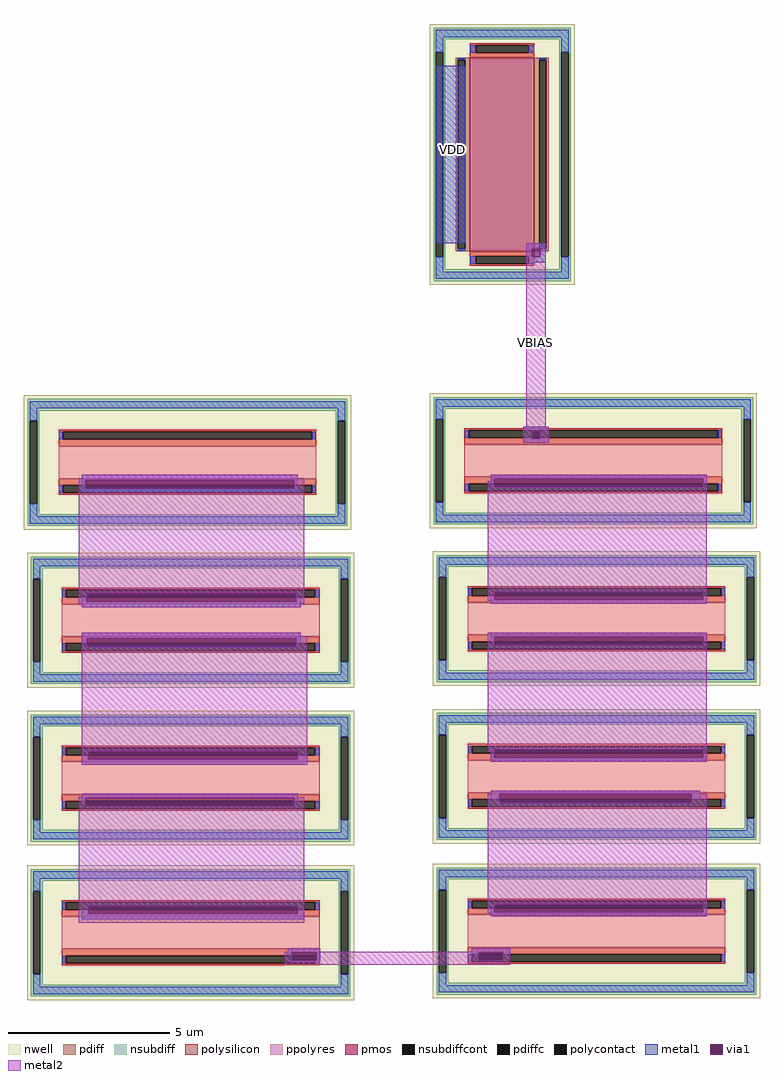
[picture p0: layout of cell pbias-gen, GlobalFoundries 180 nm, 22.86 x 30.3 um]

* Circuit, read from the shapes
.subckt pbias-gen VBIAS VDD
XM1 VBIAS VBIAS VDD VDD pfet_03v3 w=6u l=2u
XR2 n1 n2 VSUBS ppolyf_u r_width=8u r_length=1u
XR3 n3 n4 VSUBS ppolyf_u r_width=8u r_length=1u
XR4 n5 n3 VSUBS ppolyf_u r_width=8u r_length=1u
XR5 n2 n5 VSUBS ppolyf_u r_width=8u r_length=1u
XR6 VBIAS n6 VSUBS ppolyf_u r_width=8u r_length=1u
XR7 n7 n4 VSUBS ppolyf_u r_width=8u r_length=1u
XR8 n8 n7 VSUBS ppolyf_u r_width=8u r_length=1u
XR9 n6 n8 VSUBS ppolyf_u r_width=8u r_length=1u
.ends

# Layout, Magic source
magic
tech gf180mcuD
magscale 1 10
<< nwell >>
rect 2460 -50 4492 786
rect -40 -1040 1992 -204
rect 2480 -1030 4512 -194
rect -40 -2020 1992 -1184
rect 2480 -2010 4512 -1174
rect -40 -2980 1992 -2144
rect 2480 -2970 4512 -2134
<< nsubdiff >>
rect 2484 690 4468 762
rect 2484 626 2556 690
rect 2484 110 2497 626
rect 2543 110 2556 626
rect 4396 626 4468 690
rect 2484 46 2556 110
rect 4396 110 4409 626
rect 4455 110 4468 626
rect 4396 46 4468 110
rect 2484 -26 4468 46
rect -16 -300 1968 -228
rect -16 -364 56 -300
rect -16 -880 -3 -364
rect 43 -880 56 -364
rect 1896 -364 1968 -300
rect -16 -944 56 -880
rect 1896 -880 1909 -364
rect 1955 -880 1968 -364
rect 1896 -944 1968 -880
rect -16 -1016 1968 -944
rect 2504 -290 4488 -218
rect 2504 -354 2576 -290
rect 2504 -870 2517 -354
rect 2563 -870 2576 -354
rect 4416 -354 4488 -290
rect 2504 -934 2576 -870
rect 4416 -870 4429 -354
rect 4475 -870 4488 -354
rect 4416 -934 4488 -870
rect 2504 -1006 4488 -934
rect -16 -1280 1968 -1208
rect -16 -1344 56 -1280
rect -16 -1860 -3 -1344
rect 43 -1860 56 -1344
rect 1896 -1344 1968 -1280
rect -16 -1924 56 -1860
rect 1896 -1860 1909 -1344
rect 1955 -1860 1968 -1344
rect 1896 -1924 1968 -1860
rect -16 -1996 1968 -1924
rect 2504 -1270 4488 -1198
rect 2504 -1334 2576 -1270
rect 2504 -1850 2517 -1334
rect 2563 -1850 2576 -1334
rect 4416 -1334 4488 -1270
rect 2504 -1914 2576 -1850
rect 4416 -1850 4429 -1334
rect 4475 -1850 4488 -1334
rect 4416 -1914 4488 -1850
rect 2504 -1986 4488 -1914
rect -16 -2240 1968 -2168
rect -16 -2304 56 -2240
rect -16 -2820 -3 -2304
rect 43 -2820 56 -2304
rect 1896 -2304 1968 -2240
rect -16 -2884 56 -2820
rect 1896 -2820 1909 -2304
rect 1955 -2820 1968 -2304
rect 1896 -2884 1968 -2820
rect -16 -2956 1968 -2884
rect 2504 -2230 4488 -2158
rect 2504 -2294 2576 -2230
rect 2504 -2810 2517 -2294
rect 2563 -2810 2576 -2294
rect 4416 -2294 4488 -2230
rect 2504 -2874 2576 -2810
rect 4416 -2810 4429 -2294
rect 4475 -2810 4488 -2294
rect 4416 -2874 4488 -2810
rect 2504 -2946 4488 -2874
<< nsubdiffcont >>
rect 2497 110 2543 626
rect 4409 110 4455 626
rect -3 -880 43 -364
rect 1909 -880 1955 -364
rect 2517 -870 2563 -354
rect 4429 -870 4475 -354
rect -3 -1860 43 -1344
rect 1909 -1860 1955 -1344
rect 2517 -1850 2563 -1334
rect 4429 -1850 4475 -1334
rect -3 -2820 43 -2304
rect 1909 -2820 1955 -2304
rect 2517 -2810 2563 -2294
rect 4429 -2810 4475 -2294
<< polysilicon >>
rect 2676 557 4276 570
rect 2676 511 2701 557
rect 4251 511 4276 557
rect 2676 468 4276 511
rect 2676 225 4276 268
rect 2676 179 2701 225
rect 4251 179 4276 225
rect 2676 166 4276 179
rect 176 -433 1776 -420
rect 176 -479 201 -433
rect 1751 -479 1776 -433
rect 176 -522 1776 -479
rect 176 -765 1776 -722
rect 176 -811 201 -765
rect 1751 -811 1776 -765
rect 176 -824 1776 -811
rect 2696 -423 4296 -410
rect 2696 -469 2721 -423
rect 4271 -469 4296 -423
rect 2696 -512 4296 -469
rect 2696 -755 4296 -712
rect 2696 -801 2721 -755
rect 4271 -801 4296 -755
rect 2696 -814 4296 -801
rect 176 -1413 1776 -1400
rect 176 -1459 201 -1413
rect 1751 -1459 1776 -1413
rect 176 -1502 1776 -1459
rect 176 -1745 1776 -1702
rect 176 -1791 201 -1745
rect 1751 -1791 1776 -1745
rect 176 -1804 1776 -1791
rect 2696 -1403 4296 -1390
rect 2696 -1449 2721 -1403
rect 4271 -1449 4296 -1403
rect 2696 -1492 4296 -1449
rect 2696 -1735 4296 -1692
rect 2696 -1781 2721 -1735
rect 4271 -1781 4296 -1735
rect 2696 -1794 4296 -1781
rect 176 -2373 1776 -2360
rect 176 -2419 201 -2373
rect 1751 -2419 1776 -2373
rect 176 -2462 1776 -2419
rect 176 -2705 1776 -2662
rect 176 -2751 201 -2705
rect 1751 -2751 1776 -2705
rect 176 -2764 1776 -2751
rect 2696 -2363 4296 -2350
rect 2696 -2409 2721 -2363
rect 4271 -2409 4296 -2363
rect 2696 -2452 4296 -2409
rect 2696 -2695 4296 -2652
rect 2696 -2741 2721 -2695
rect 4271 -2741 4296 -2695
rect 2696 -2754 4296 -2741
<< polycontact >>
rect 2701 511 4251 557
rect 2701 179 4251 225
rect 201 -479 1751 -433
rect 201 -811 1751 -765
rect 2721 -469 4271 -423
rect 2721 -801 4271 -755
rect 201 -1459 1751 -1413
rect 201 -1791 1751 -1745
rect 2721 -1449 4271 -1403
rect 2721 -1781 4271 -1735
rect 201 -2419 1751 -2373
rect 201 -2751 1751 -2705
rect 2721 -2409 4271 -2363
rect 2721 -2741 4271 -2695
<< ppolyres >>
rect 2676 268 4276 468
rect 176 -722 1776 -522
rect 2696 -712 4296 -512
rect 176 -1702 1776 -1502
rect 2696 -1692 4296 -1492
rect 176 -2662 1776 -2462
rect 2696 -2652 4296 -2452
<< metal1 >>
rect 2500 1720 2680 2820
rect 3060 1686 3180 1720
rect 3060 1634 3094 1686
rect 3146 1634 3180 1686
rect 3060 1600 3180 1634
rect 2497 703 4455 749
rect 2497 626 2543 703
rect 300 246 1640 280
rect 300 194 320 246
rect 1620 194 1640 246
rect 300 180 1640 194
rect 4409 626 4455 703
rect 3040 557 3200 580
rect 2678 511 2701 557
rect 4251 511 4274 557
rect 3040 504 3094 511
rect 3146 504 3200 511
rect 3040 480 3200 504
rect 2840 256 4180 280
rect 2840 225 2860 256
rect 4160 225 4180 256
rect 2678 179 2701 225
rect 4251 179 4274 225
rect 2497 33 2543 110
rect 4409 33 4455 110
rect 2497 -13 4455 33
rect -3 -287 1955 -241
rect -3 -364 43 -287
rect 1909 -364 1955 -287
rect 178 -479 201 -433
rect 1751 -479 1774 -433
rect 300 -506 330 -479
rect 1630 -506 1660 -479
rect 300 -540 1660 -506
rect 300 -734 1660 -700
rect 300 -765 330 -734
rect 1630 -765 1660 -734
rect 178 -811 201 -765
rect 1751 -811 1774 -765
rect -3 -957 43 -880
rect 1909 -957 1955 -880
rect -3 -1003 1955 -957
rect 2517 -277 4475 -231
rect 2517 -354 2563 -277
rect 4429 -354 4475 -277
rect 2698 -469 2721 -423
rect 4271 -469 4294 -423
rect 2840 -496 2860 -469
rect 4160 -496 4180 -469
rect 2840 -520 4180 -496
rect 2840 -724 4180 -700
rect 2840 -755 2860 -724
rect 4160 -755 4180 -724
rect 2698 -801 2721 -755
rect 4271 -801 4294 -755
rect 2517 -947 2563 -870
rect 4429 -947 4475 -870
rect 2517 -993 4475 -947
rect -3 -1267 1955 -1221
rect -3 -1344 43 -1267
rect 1909 -1344 1955 -1267
rect 178 -1459 201 -1413
rect 1751 -1459 1774 -1413
rect 300 -1486 340 -1459
rect 1640 -1486 1700 -1459
rect 300 -1520 1700 -1486
rect 300 -1724 1640 -1700
rect 300 -1745 320 -1724
rect 1620 -1745 1640 -1724
rect 178 -1791 201 -1745
rect 1751 -1791 1774 -1745
rect -3 -1937 43 -1860
rect 1909 -1937 1955 -1860
rect -3 -1983 1955 -1937
rect 2517 -1257 4475 -1211
rect 2517 -1334 2563 -1257
rect 4429 -1334 4475 -1257
rect 2698 -1449 2721 -1403
rect 4271 -1449 4294 -1403
rect 2840 -1476 2860 -1449
rect 4160 -1476 4180 -1449
rect 2840 -1500 4180 -1476
rect 2840 -1704 4140 -1680
rect 2840 -1735 2892 -1704
rect 4088 -1735 4140 -1704
rect 2698 -1781 2721 -1735
rect 4271 -1781 4294 -1735
rect 2517 -1927 2563 -1850
rect 4429 -1927 4475 -1850
rect 2517 -1973 4475 -1927
rect -3 -2227 1955 -2181
rect -3 -2304 43 -2227
rect 1909 -2304 1955 -2227
rect 178 -2419 201 -2373
rect 1751 -2419 1774 -2373
rect 300 -2446 340 -2419
rect 1640 -2446 1680 -2419
rect 300 -2480 1680 -2446
rect 1580 -2684 1780 -2660
rect 1580 -2705 1602 -2684
rect 178 -2751 201 -2705
rect 1758 -2736 1780 -2684
rect 1751 -2740 1780 -2736
rect 1751 -2751 1774 -2740
rect -3 -2897 43 -2820
rect 1909 -2897 1955 -2820
rect -3 -2943 1955 -2897
rect 2517 -2217 4475 -2171
rect 2517 -2294 2563 -2217
rect 4429 -2294 4475 -2217
rect 2698 -2409 2721 -2363
rect 4271 -2409 4294 -2363
rect 2840 -2436 2860 -2409
rect 4160 -2436 4180 -2409
rect 2840 -2460 4180 -2436
rect 2720 -2684 2960 -2660
rect 2720 -2695 2762 -2684
rect 2918 -2695 2960 -2684
rect 2698 -2741 2721 -2695
rect 4271 -2741 4294 -2695
rect 2517 -2887 2563 -2810
rect 4429 -2887 4475 -2810
rect 2517 -2933 4475 -2887
<< via1 >>
rect 3094 1634 3146 1686
rect 320 194 1620 246
rect 3094 511 3146 556
rect 3094 504 3146 511
rect 2860 225 4160 256
rect 2860 204 4160 225
rect 330 -479 1630 -454
rect 330 -506 1630 -479
rect 330 -765 1630 -734
rect 330 -786 1630 -765
rect 2860 -469 4160 -444
rect 2860 -496 4160 -469
rect 2860 -755 4160 -724
rect 2860 -776 4160 -755
rect 340 -1459 1640 -1434
rect 340 -1486 1640 -1459
rect 320 -1745 1620 -1724
rect 320 -1776 1620 -1745
rect 2860 -1449 4160 -1424
rect 2860 -1476 4160 -1449
rect 2892 -1735 4088 -1704
rect 2892 -1756 4088 -1735
rect 340 -2419 1640 -2394
rect 340 -2446 1640 -2419
rect 1602 -2705 1758 -2684
rect 1602 -2736 1751 -2705
rect 1751 -2736 1758 -2705
rect 2860 -2409 4160 -2384
rect 2860 -2436 4160 -2409
rect 2762 -2695 2918 -2684
rect 2762 -2736 2918 -2695
<< metal2 >>
rect 3060 1686 3180 1720
rect 3060 1634 3094 1686
rect 3146 1634 3180 1686
rect 3060 580 3180 1634
rect 3040 556 3200 580
rect 3040 504 3094 556
rect 3146 504 3200 556
rect 3040 480 3200 504
rect 300 260 1640 280
rect 280 246 1680 260
rect 280 194 320 246
rect 1620 194 1680 246
rect 2840 256 4180 280
rect 2840 240 2860 256
rect 280 -454 1680 194
rect 280 -506 330 -454
rect 1630 -506 1680 -454
rect 2820 204 2860 240
rect 4160 204 4180 256
rect 2820 -444 4180 204
rect 2820 -496 2860 -444
rect 4160 -496 4180 -444
rect 2820 -500 4180 -496
rect 280 -520 1680 -506
rect 2840 -520 4180 -500
rect 300 -540 1660 -520
rect 300 -720 1660 -700
rect 300 -734 1700 -720
rect 300 -786 330 -734
rect 1630 -786 1700 -734
rect 300 -1434 1700 -786
rect 300 -1486 340 -1434
rect 1640 -1486 1700 -1434
rect 2820 -724 4180 -700
rect 2820 -776 2860 -724
rect 4160 -776 4180 -724
rect 2820 -1424 4180 -776
rect 2820 -1440 2860 -1424
rect 300 -1520 1700 -1486
rect 2840 -1476 2860 -1440
rect 4160 -1476 4180 -1424
rect 2840 -1500 4180 -1476
rect 2840 -1700 4140 -1680
rect 300 -1720 1640 -1700
rect 2820 -1704 4180 -1700
rect 280 -1724 1680 -1720
rect 280 -1776 320 -1724
rect 1620 -1776 1680 -1724
rect 280 -2394 1680 -1776
rect 280 -2446 340 -2394
rect 1640 -2446 1680 -2394
rect 2820 -1756 2892 -1704
rect 4088 -1756 4180 -1704
rect 2820 -2384 4180 -1756
rect 2820 -2436 2860 -2384
rect 4160 -2436 4180 -2384
rect 2820 -2440 4180 -2436
rect 280 -2500 1680 -2446
rect 2840 -2460 4180 -2440
rect 1580 -2680 1780 -2660
rect 2720 -2680 2960 -2660
rect 1560 -2684 2960 -2680
rect 1560 -2736 1602 -2684
rect 1758 -2736 2762 -2684
rect 2918 -2736 2960 -2684
rect 1560 -2760 2960 -2736
use pfet_03v3_CU5LAP  pfet_03v3_CU5LAP_0
transform 1 0 2910 0 1 2270
box -450 -810 450 810
use ppolyf_u_8KYXHD  ppolyf_u_8KYXHD_0
transform 1 0 956 0 1 358
box -1016 -418 1016 418
use ppolyf_u_8KYXHD  ppolyf_u_8KYXHD_1
transform 1 0 976 0 1 -622
box -1016 -418 1016 418
use ppolyf_u_8KYXHD  ppolyf_u_8KYXHD_2
transform 1 0 976 0 1 -1602
box -1016 -418 1016 418
use ppolyf_u_8KYXHD  ppolyf_u_8KYXHD_3
transform 1 0 976 0 1 -2562
box -1016 -418 1016 418
use ppolyf_u_8KYXHD  ppolyf_u_8KYXHD_4
transform 1 0 3496 0 1 -2552
box -1016 -418 1016 418
use ppolyf_u_8KYXHD  ppolyf_u_8KYXHD_5
transform 1 0 3496 0 1 -1592
box -1016 -418 1016 418
use ppolyf_u_8KYXHD  ppolyf_u_8KYXHD_6
transform 1 0 3496 0 1 -612
box -1016 -418 1016 418
use ppolyf_u_8KYXHD  ppolyf_u_8KYXHD_7
transform 1 0 3476 0 1 368
box -1016 -418 1016 418
<< labels >>
rlabel metal1 2600 2300 2600 2300 4 VDD
rlabel metal2 3120 1100 3120 1100 4 VBIAS
<< end >>

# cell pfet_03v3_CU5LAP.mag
magic
tech gf180mcuD
magscale 1 10
<< nwell >>
rect -450 -810 450 810
<< pmos >>
rect -200 -600 200 600
<< pdiff >>
rect -288 587 -200 600
rect -288 -587 -275 587
rect -229 -587 -200 587
rect -288 -600 -200 -587
rect 200 587 288 600
rect 200 -587 229 587
rect 275 -587 288 587
rect 200 -600 288 -587
<< pdiffc >>
rect -275 -587 -229 587
rect 229 -587 275 587
<< nsubdiff >>
rect -426 714 426 786
rect -426 634 -354 714
rect -426 -634 -413 634
rect -367 -634 -354 634
rect 354 634 426 714
rect -426 -714 -354 -634
rect 354 -634 367 634
rect 413 -634 426 634
rect 354 -714 426 -634
rect -426 -786 426 -714
<< nsubdiffcont >>
rect -413 -634 -367 634
rect 367 -634 413 634
<< polysilicon >>
rect -200 679 200 692
rect -200 633 -164 679
rect 164 633 200 679
rect -200 600 200 633
rect -200 -633 200 -600
rect -200 -679 -164 -633
rect 164 -679 200 -633
rect -200 -692 200 -679
<< polycontact >>
rect -164 633 164 679
rect -164 -679 164 -633
<< metal1 >>
rect -413 727 413 773
rect -413 634 -367 727
rect -198 633 -164 679
rect 164 633 198 679
rect 367 634 413 727
rect -275 587 -229 598
rect -275 -598 -229 -587
rect 229 587 275 598
rect 229 -598 275 -587
rect -413 -727 -367 -634
rect -198 -679 -164 -633
rect 164 -679 198 -633
rect 367 -727 413 -634
rect -413 -773 413 -727
<< properties >>
string FIXED_BBOX -390 -750 390 750
<< end >>

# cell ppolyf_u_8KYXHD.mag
magic
tech gf180mcuD
magscale 1 10
<< nwell >>
rect -1016 -418 1016 418
<< nsubdiff >>
rect -992 322 992 394
rect -992 258 -920 322
rect -992 -258 -979 258
rect -933 -258 -920 258
rect 920 258 992 322
rect -992 -322 -920 -258
rect 920 -258 933 258
rect 979 -258 992 258
rect 920 -322 992 -258
rect -992 -394 992 -322
<< nsubdiffcont >>
rect -979 -258 -933 258
rect 933 -258 979 258
<< polysilicon >>
rect -800 189 800 202
rect -800 143 -775 189
rect 775 143 800 189
rect -800 100 800 143
rect -800 -143 800 -100
rect -800 -189 -775 -143
rect 775 -189 800 -143
rect -800 -202 800 -189
<< polycontact >>
rect -775 143 775 189
rect -775 -189 775 -143
<< ppolyres >>
rect -800 -100 800 100
<< metal1 >>
rect -979 335 979 381
rect -979 258 -933 335
rect 933 258 979 335
rect -798 143 -775 189
rect 775 143 798 189
rect -798 -189 -775 -143
rect 775 -189 798 -143
rect -979 -335 -933 -258
rect 933 -335 979 -258
rect -979 -381 979 -335
<< properties >>
string FIXED_BBOX -956 -358 956 358
<< end >>
